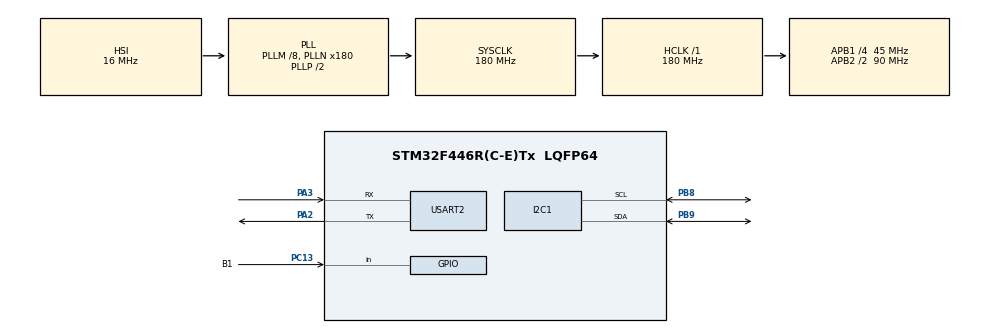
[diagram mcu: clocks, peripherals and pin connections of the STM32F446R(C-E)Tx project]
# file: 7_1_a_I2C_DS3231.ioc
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Mcu.Family=STM32F4
Mcu.Name=STM32F446R(C-E)Tx
Mcu.Package=LQFP64
NVIC.PriorityGroup=NVIC_PRIORITYGROUP_4
PA2.Mode=Asynchronous
PA2.Signal=USART2_TX
PA3.Mode=Asynchronous
PA3.Signal=USART2_RX
PB8.Mode=I2C
PB8.Signal=I2C1_SCL
PB9.Mode=I2C
PB9.Signal=I2C1_SDA
PC13.GPIO_Label=B1
PC13.Signal=GPIO_Input
ProjectManager.HeapSize=0x200
ProjectManager.StackSize=0x400
ProjectManager.TargetToolchain=STM32CubeIDE
RCC.AHBFreq_Value=180000000
RCC.APB1CLKDivider=RCC_HCLK_DIV4
RCC.APB1Freq_Value=45000000
RCC.APB1TimFreq_Value=90000000
RCC.APB2CLKDivider=RCC_HCLK_DIV2
RCC.APB2Freq_Value=90000000
RCC.APB2TimFreq_Value=180000000
RCC.CortexFreq_Value=180000000
RCC.HCLKFreq_Value=180000000
RCC.PLLM=8
RCC.PLLN=180
RCC.SYSCLKFreq_VALUE=180000000
RCC.SYSCLKSource=RCC_SYSCLKSOURCE_PLLCLK
RCC.USBFreq_Value=180000000
RCC.VCOOutputFreq_Value=360000000
USART2.VirtualMode=VM_ASYNC
board=custom

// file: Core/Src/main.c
/* USER CODE BEGIN Header */
/**
  ******************************************************************************
  * @file           : main.c
  * @brief          : Main program body
  ******************************************************************************
  * @attention
  *
  * Copyright (c) 2026 STMicroelectronics.
  * All rights reserved.
  *
  * This software is licensed under terms that can be found in the LICENSE file
  * in the root directory of this software component.
  * If no LICENSE file comes with this software, it is provided AS-IS.
  *
  ******************************************************************************
  */
/* USER CODE END Header */
#include "main.h"

/* USER CODE BEGIN Includes */
#include <stdio.h>
#include "ds3231.h"
/* USER CODE END Includes */

I2C_HandleTypeDef hi2c1;

UART_HandleTypeDef huart2;

/* USER CODE BEGIN PV */
DS3231_Time now;
uint8_t last_second = 0xFF;
const DS3231_Time preset = { .second = 0, .minute = 30, .hour = 14,
                             .day = 1, .date = 4, .month = 11, .year = 26 };
const char *day_name[] = {"", "Sun", "Mon", "Tue", "Wed", "Thu", "Fri", "Sat"};

/* USER CODE END PV */

void SystemClock_Config(void);
static void MX_GPIO_Init(void);
static void MX_I2C1_Init(void);
static void MX_USART2_UART_Init(void);

int main(void)
{

  /* MCU Configuration--------------------------------------------------------*/

  /* Reset of all peripherals, Initializes the Flash interface and the Systick. */
  HAL_Init();

  /* Configure the system clock */
  SystemClock_Config();

  /* Initialize all configured peripherals */
  MX_GPIO_Init();
  MX_I2C1_Init();
  MX_USART2_UART_Init();
  /* USER CODE BEGIN 2 */
  if (DS3231_Init(&hi2c1) == HAL_OK){
    HAL_UART_Transmit(&huart2, (uint8_t *)"DS3231 found\r\n", 18, HAL_MAX_DELAY);
  }
  else {
    HAL_UART_Transmit(&huart2, (uint8_t *)"DS3231 not found\r\n", 18, HAL_MAX_DELAY);
  }

  /* USER CODE END 2 */

  /* Infinite loop */
  while (1)
  {

    /* USER CODE BEGIN 3 */
    if (DS3231_GetTime(&now) == HAL_OK && now.second != last_second)
    {
      last_second = now.second;
      char buf[64];
      int n = snprintf(buf, sizeof(buf), "%s %02d/%02d/%04d %02d:%02d:%02d\r\n",
                      day_name[now.day], now.date, now.month, 2000 + now.year,
                      now.hour, now.minute, now.second);
      HAL_UART_Transmit(&huart2, (uint8_t *)buf, n, HAL_MAX_DELAY);
    }

    if (HAL_GPIO_ReadPin(B1_GPIO_Port, B1_Pin) == GPIO_PIN_RESET)   // B1 is active low
    {
      DS3231_Time t = preset;
      t.day = DS3231_DayOfWeek(t.date, t.month, 2000 + t.year);
      DS3231_SetTime(&t);
      last_second = 0xFF;
    }
    HAL_Delay(100);
  }

  /* USER CODE END 3 */
}

void SystemClock_Config(void)
{
  RCC_OscInitTypeDef RCC_OscInitStruct = {0};
  RCC_ClkInitTypeDef RCC_ClkInitStruct = {0};

  /** Configure the main internal regulator output voltage
  */
  __HAL_RCC_PWR_CLK_ENABLE();
  __HAL_PWR_VOLTAGESCALING_CONFIG(PWR_REGULATOR_VOLTAGE_SCALE1);

  /** Initializes the RCC Oscillators according to the specified parameters
  * in the RCC_OscInitTypeDef structure.
  */
  RCC_OscInitStruct.OscillatorType = RCC_OSCILLATORTYPE_HSI;
  RCC_OscInitStruct.HSIState = RCC_HSI_ON;
  RCC_OscInitStruct.HSICalibrationValue = RCC_HSICALIBRATION_DEFAULT;
  RCC_OscInitStruct.PLL.PLLState = RCC_PLL_ON;
  RCC_OscInitStruct.PLL.PLLSource = RCC_PLLSOURCE_HSI;
  RCC_OscInitStruct.PLL.PLLM = 8;
  RCC_OscInitStruct.PLL.PLLN = 180;
  RCC_OscInitStruct.PLL.PLLP = RCC_PLLP_DIV2;
  RCC_OscInitStruct.PLL.PLLQ = 2;
  RCC_OscInitStruct.PLL.PLLR = 2;
  if (HAL_RCC_OscConfig(&RCC_OscInitStruct) != HAL_OK)
  {
    Error_Handler();
  }

  /** Activate the Over-Drive mode
  */
  if (HAL_PWREx_EnableOverDrive() != HAL_OK)
  {
    Error_Handler();
  }

  /** Initializes the CPU, AHB and APB buses clocks
  */
  RCC_ClkInitStruct.ClockType = RCC_CLOCKTYPE_HCLK|RCC_CLOCKTYPE_SYSCLK
                              |RCC_CLOCKTYPE_PCLK1|RCC_CLOCKTYPE_PCLK2;
  RCC_ClkInitStruct.SYSCLKSource = RCC_SYSCLKSOURCE_PLLCLK;
  RCC_ClkInitStruct.AHBCLKDivider = RCC_SYSCLK_DIV1;
  RCC_ClkInitStruct.APB1CLKDivider = RCC_HCLK_DIV4;
  RCC_ClkInitStruct.APB2CLKDivider = RCC_HCLK_DIV2;

  if (HAL_RCC_ClockConfig(&RCC_ClkInitStruct, FLASH_LATENCY_5) != HAL_OK)
  {
    Error_Handler();
  }
}

static void MX_I2C1_Init(void)
{

  hi2c1.Instance = I2C1;
  hi2c1.Init.ClockSpeed = 100000;
  hi2c1.Init.DutyCycle = I2C_DUTYCYCLE_2;
  hi2c1.Init.OwnAddress1 = 0;
  hi2c1.Init.AddressingMode = I2C_ADDRESSINGMODE_7BIT;
  hi2c1.Init.DualAddressMode = I2C_DUALADDRESS_DISABLE;
  hi2c1.Init.OwnAddress2 = 0;
  hi2c1.Init.GeneralCallMode = I2C_GENERALCALL_DISABLE;
  hi2c1.Init.NoStretchMode = I2C_NOSTRETCH_DISABLE;
  if (HAL_I2C_Init(&hi2c1) != HAL_OK)
  {
    Error_Handler();
  }

}

static void MX_USART2_UART_Init(void)
{

  huart2.Instance = USART2;
  huart2.Init.BaudRate = 115200;
  huart2.Init.WordLength = UART_WORDLENGTH_8B;
  huart2.Init.StopBits = UART_STOPBITS_1;
  huart2.Init.Parity = UART_PARITY_NONE;
  huart2.Init.Mode = UART_MODE_TX_RX;
  huart2.Init.HwFlowCtl = UART_HWCONTROL_NONE;
  huart2.Init.OverSampling = UART_OVERSAMPLING_16;
  if (HAL_UART_Init(&huart2) != HAL_OK)
  {
    Error_Handler();
  }

}

static void MX_GPIO_Init(void)
{
  GPIO_InitTypeDef GPIO_InitStruct = {0};

  /* GPIO Ports Clock Enable */
  __HAL_RCC_GPIOC_CLK_ENABLE();
  __HAL_RCC_GPIOA_CLK_ENABLE();
  __HAL_RCC_GPIOB_CLK_ENABLE();

  /*Configure GPIO pin : B1_Pin */
  GPIO_InitStruct.Pin = B1_Pin;
  GPIO_InitStruct.Mode = GPIO_MODE_INPUT;
  GPIO_InitStruct.Pull = GPIO_NOPULL;
  HAL_GPIO_Init(B1_GPIO_Port, &GPIO_InitStruct);

}

void Error_Handler(void)
{
  __disable_irq();
  while (1)
  {
  }
}
